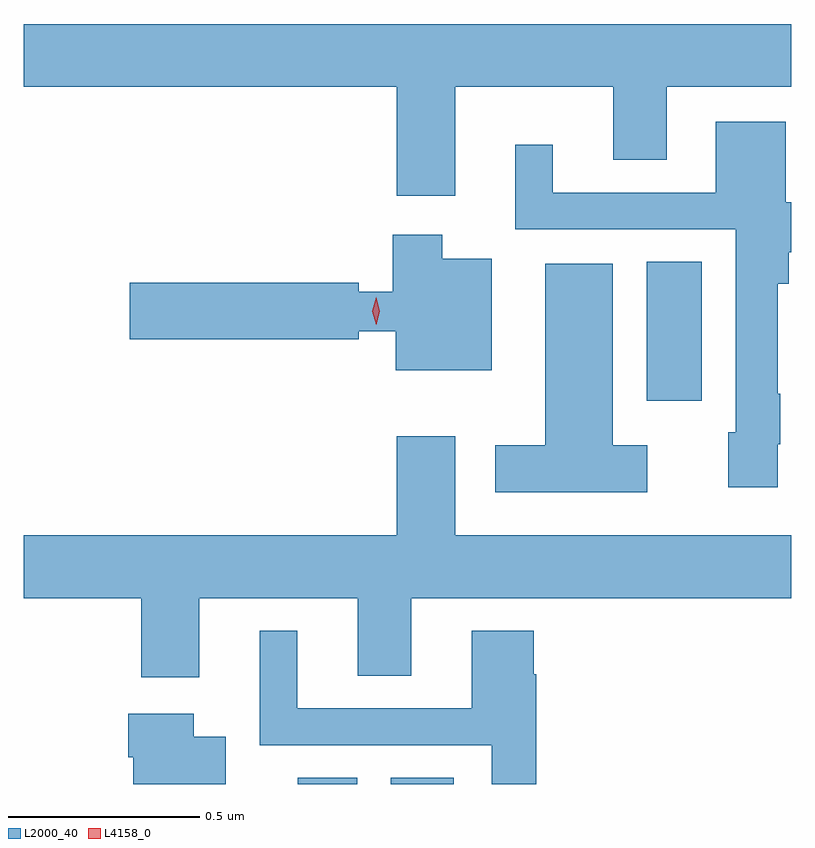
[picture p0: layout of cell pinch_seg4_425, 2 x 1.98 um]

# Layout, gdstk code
import gdstk
lib = gdstk.Library(unit=1e-6, precision=1e-09)
def R(c, l, rs):  # rectangles x0, y0, x1, y1
    for r in rs: c.add(gdstk.rectangle(r[:2], r[2:], *l))
def P(c, l, *ps):  # polygons
    for p in ps: c.add(gdstk.Polygon(p, *l))
L2000_40 = (2000, 40)
L4158_0 = (4158, 0)

pinch_seg4_425 = lib.new_cell('pinch_seg4_425')
R(pinch_seg4_425, L2000_40, [(1013.369,773.692,1013.524,773.708), (1013.612,773.692,1013.776,773.708), (1014.278,774.69,1014.421,775.052)])
P(pinch_seg4_425, L2000_40, [(1013.779,775.508),(1014.191,775.508),(1014.191,775.318),(1014.331,775.318),(1014.331,775.508),(1014.655,775.508),(1014.655,775.672),(1012.655,775.672),(1012.655,775.508),(1013.627,775.508),(1013.627,775.224),(1013.779,775.224)],
  [(1014.619,774.577),(1014.626,774.577),(1014.626,774.709),(1014.619,774.709),(1014.619,774.995),(1014.648,774.995),(1014.648,775.078),(1014.655,775.078),(1014.655,775.207),(1014.64,775.207),(1014.64,775.417),(1014.458,775.417),(1014.458,775.233),(1014.034,775.233),(1014.034,775.357),(1013.936,775.357),(1013.936,775.137),(1014.51,775.137),(1014.51,774.609),(1014.491,774.609),(1014.491,774.465),(1014.619,774.465)],
  [(1013.875,775.06),(1013.746,775.06),(1013.746,775.123),(1013.617,775.123),(1013.617,774.975),(1013.528,774.975),(1013.528,774.998),(1012.932,774.998),(1012.932,774.851),(1013.528,774.851),(1013.528,774.871),(1013.624,774.871),(1013.624,774.77),(1013.875,774.77)],
  [(1014.28,774.574),(1014.19,774.574),(1014.19,775.048),(1014.014,775.048),(1014.014,774.574),(1013.883,774.574),(1013.883,774.452),(1014.28,774.452)],
  [(1013.113,774.176),(1013.525,774.176),(1013.525,773.974),(1013.665,773.974),(1013.665,774.176),(1014.655,774.176),(1014.655,774.34),(1013.779,774.34),(1013.779,774.598),(1013.627,774.598),(1013.627,774.34),(1012.655,774.34),(1012.655,774.176),(1012.961,774.176),(1012.961,773.97),(1013.113,773.97)],
  [(1013.99,773.978),(1013.984,773.978),(1013.984,774.091),(1013.822,774.091),(1013.822,773.889),(1013.368,773.889),(1013.368,774.091),(1013.27,774.091),(1013.27,773.793),(1013.874,773.793),(1013.874,773.692),(1013.99,773.692)],
  [(1013.182,773.815),(1013.098,773.815),(1013.098,773.875),(1012.928,773.875),(1012.928,773.762),(1012.94,773.762),(1012.94,773.692),(1013.182,773.692)])
P(pinch_seg4_425, L4158_0, [(1013.573,774.889),(1013.573,774.889),(1013.563,774.924),(1013.573,774.96),(1013.573,774.96),(1013.573,774.96),(1013.583,774.924),(1013.573,774.889)])

lib.write_gds('pinch_seg4_425.gds')
